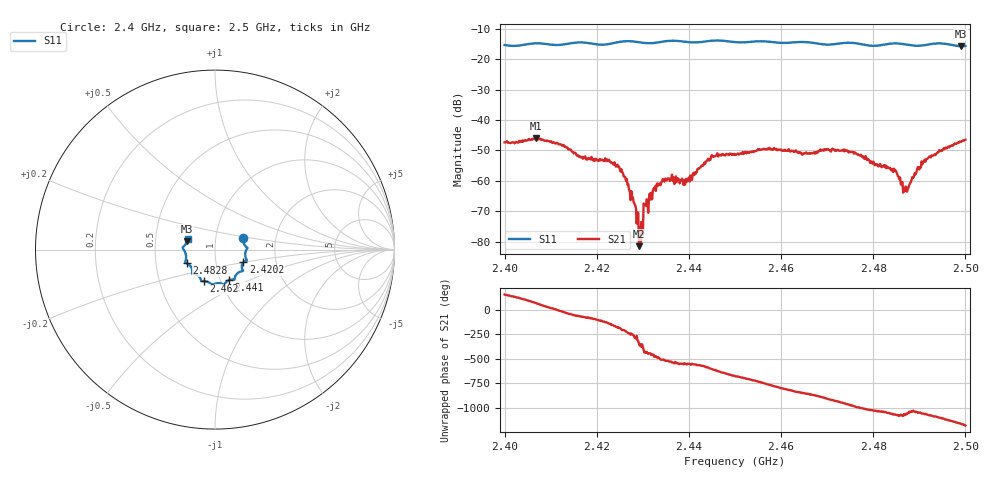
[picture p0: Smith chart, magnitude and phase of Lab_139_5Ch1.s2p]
# Hz S RI R 50
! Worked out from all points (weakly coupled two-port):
!   601 points, 2.4 GHz to 2.5 GHz, reference 50 ohm
!   highest |S21| = -45.94 dB at 2.4068 GHz (marker M1); lowest = -81.4 dB at 2.4292 GHz (marker M2)
!   lowest |S11| = -15.8 dB at 2.499 GHz (marker M3), VSWR 1.39, Z = 36.4 + j3.49 ohm
!   |S11| at or under -10 dB: start of sweep to end of sweep
!   S12 and S22 are empty: the file has one direction only
!   S11 on the Smith chart (normalised r, x): 2.4 GHz: 1.36, +0.18; 2.4202 GHz: 1.36, -0.20; 2.441 GHz: 1.10, -0.39; 2.462 GHz: 0.84, -0.30; 2.4828 GHz: 0.72, -0.11; 2.5 GHz: 0.73, +0.09
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2.4e9  0.158 0.0624  -0.00384 0.00195  0 0  0 0
2.406833e9  0.1807 0.00977  0.00207 0.0046  0 0  0 0
2.416667e9  0.1772 -0.0608  0.000792 -0.00233  0 0  0 0
2.420167e9  0.1581 -0.0712  -0.000519 -0.00215  0 0  0 0
2.425167e9  0.1545 -0.1144  -0.0014 0.000267  0 0  0 0
2.428e9  0.1525 -0.1198  -6.57e-05 0.000444  0 0  0 0
2.429167e9  0.1443 -0.1215  8.38e-05 1.51e-05  0 0  0 0
2.429667e9  0.1397 -0.1232  0.000202 -6.62e-05  0 0  0 0
2.430667e9  0.1298 -0.1285  7.41e-05 -0.000385  0 0  0 0
2.433333e9  0.1113 -0.151  -0.00047 -0.000694  0 0  0 0
2.441e9  0.0784 -0.1696  -0.0013 0.000385  0 0  0 0
2.445333e9  0.0514 -0.194  -0.000745 0.00237  0 0  0 0
2.45e9  0.0282 -0.1876  0.00196 0.00186  0 0  0 0
2.462e9  -0.0607 -0.1757  -0.000479 -0.003  0 0  0 0
2.466667e9  -0.0787 -0.1681  -0.00241 -0.00159  0 0  0 0
2.473833e9  -0.1249 -0.135  -0.00187 0.00268  0 0  0 0
2.482833e9  -0.1573 -0.0765  0.00136 0.000874  0 0  0 0
2.483333e9  -0.1605 -0.0752  0.00145 0.000791  0 0  0 0
2.487e9  -0.1634 -0.0601  0.000802 0.000125  0 0  0 0
2.491e9  -0.168 -0.0114  0.00196 0.000708  0 0  0 0
2.499e9  -0.1553 0.0467  0.000697 -0.0043  0 0  0 0
2.5e9  -0.1519 0.0609  -0.000777 -0.0047  0 0  0 0
